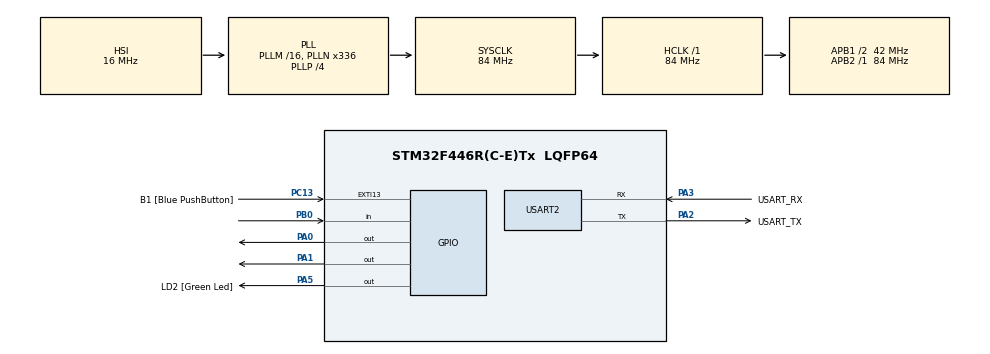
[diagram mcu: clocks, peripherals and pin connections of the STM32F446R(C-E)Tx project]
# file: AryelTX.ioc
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Mcu.Family=STM32F4
Mcu.Name=STM32F446R(C-E)Tx
Mcu.Package=LQFP64
NVIC.PriorityGroup=NVIC_PRIORITYGROUP_0
PA0-WKUP.Signal=GPIO_Output
PA1.Signal=GPIO_Output
PA13.GPIO_Label=TMS
PA13.Mode=Serial_Wire
PA13.Signal=SYS_JTMS-SWDIO
PA14.GPIO_Label=TCK
PA14.Mode=Serial_Wire
PA14.Signal=SYS_JTCK-SWCLK
PA2.GPIO_Label=USART_TX
PA2.Mode=Asynchronous
PA2.Signal=USART2_TX
PA3.GPIO_Label=USART_RX
PA3.Mode=Asynchronous
PA3.Signal=USART2_RX
PA5.GPIO_Label=LD2 [Green Led]
PA5.Signal=GPIO_Output
PB0.GPIO_PuPd=GPIO_PULLDOWN
PB0.Signal=GPIO_Input
PB3.GPIO_Label=SWO
PB3.Signal=SYS_JTDO-SWO
PC13.GPIO_Label=B1 [Blue PushButton]
PC13.GPIO_ModeDefaultEXTI=GPIO_MODE_IT_FALLING
PC13.Signal=GPXTI13
PC14-OSC32_IN.Mode=LSE-External-Oscillator
PC14-OSC32_IN.Signal=RCC_OSC32_IN
PC15-OSC32_OUT.Mode=LSE-External-Oscillator
PC15-OSC32_OUT.Signal=RCC_OSC32_OUT
PH0-OSC_IN.Mode=HSE-External-Oscillator
PH0-OSC_IN.Signal=RCC_OSC_IN
PH1-OSC_OUT.Mode=HSE-External-Oscillator
PH1-OSC_OUT.Signal=RCC_OSC_OUT
ProjectManager.HeapSize=0x200
ProjectManager.StackSize=0x400
ProjectManager.TargetToolchain=STM32CubeIDE
RCC.48MHZClocksFreq_Value=84000000
RCC.AHBFreq_Value=84000000
RCC.APB1CLKDivider=RCC_HCLK_DIV2
RCC.APB1Freq_Value=42000000
RCC.APB1TimFreq_Value=84000000
RCC.APB2Freq_Value=84000000
RCC.APB2TimFreq_Value=84000000
RCC.CortexFreq_Value=84000000
RCC.FLatency-AdvancedSettings=FLASH_LATENCY_2
RCC.HCLKFreq_Value=84000000
RCC.HSE_VALUE=8000000
RCC.HSI_VALUE=16000000
RCC.PLLN=336
RCC.PLLP=RCC_PLLP_DIV4
RCC.SYSCLKFreq_VALUE=84000000
RCC.SYSCLKSource=RCC_SYSCLKSOURCE_PLLCLK
RCC.USBFreq_Value=168000000
RCC.VCOOutputFreq_Value=336000000
USART2.VirtualMode=VM_ASYNC
board=NUCLEO-F446RE

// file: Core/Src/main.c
/* USER CODE BEGIN Header */
/**
  ******************************************************************************
  * @file           : main.c
  * @brief          : Main program body
  ******************************************************************************
  * @attention
  *
  * Copyright (c) 2026 STMicroelectronics.
  * All rights reserved.
  *
  * This software is licensed under terms that can be found in the LICENSE file
  * in the root directory of this software component.
  * If no LICENSE file comes with this software, it is provided AS-IS.
  *
  ******************************************************************************
  */
/* USER CODE END Header */
#include "main.h"

/* USER CODE BEGIN Includes */
/*TX*/
#include <stdint.h>
/* USER CODE END Includes */

UART_HandleTypeDef huart2;

void SystemClock_Config(void);
static void MX_GPIO_Init(void);
static void MX_USART2_UART_Init(void);

/* USER CODE BEGIN 0 */
uint8_t read_ack() {
    return HAL_GPIO_ReadPin(GPIOB, GPIO_PIN_0);
}

void pulse_clock() {
    HAL_GPIO_WritePin(GPIOA, GPIO_PIN_1, GPIO_PIN_SET);
    for(volatile int i=0; i<300; i++);
    HAL_GPIO_WritePin(GPIOA, GPIO_PIN_1, GPIO_PIN_RESET);
    for(volatile int i=0; i<300; i++);
}

uint8_t send_byte(uint8_t data) {
    uint8_t parity = 0;

    // START
    HAL_GPIO_WritePin(GPIOA, GPIO_PIN_0, GPIO_PIN_RESET);
    pulse_clock();

    // 8 bits
    for(int i = 0; i < 8; i++) {
        uint8_t bit = (data >> i) & 1;
        HAL_GPIO_WritePin(GPIOA, GPIO_PIN_0, bit);
        parity ^= bit;
        pulse_clock();
    }

    // PARIDADE
    HAL_GPIO_WritePin(GPIOA, GPIO_PIN_0, parity);
    pulse_clock();

    // STOP
    HAL_GPIO_WritePin(GPIOA, GPIO_PIN_0, GPIO_PIN_SET);
    pulse_clock();

    HAL_Delay(1);
    return read_ack();
}

void send_byte_reliable(uint8_t data) {
    uint8_t ack = 0;

    while(!ack) {
        ack = send_byte(data);
    }
}
/* USER CODE END 0 */

int main(void)
{

  /* MCU Configuration--------------------------------------------------------*/

  /* Reset of all peripherals, Initializes the Flash interface and the Systick. */
  HAL_Init();

  /* Configure the system clock */
  SystemClock_Config();

  /* Initialize all configured peripherals */
  MX_GPIO_Init();
  MX_USART2_UART_Init();

  /* Infinite loop */
  /* USER CODE BEGIN WHILE */
  while (1)
  {
	  // envia 100 bytes continuamente
	  for(int i = 0; i < 100; i++) {
	      send_byte_reliable(i);
	      HAL_Delay(10);
	  }

	  // botão
	  uint8_t current = (HAL_GPIO_ReadPin(GPIOC, GPIO_PIN_13) == GPIO_PIN_RESET);

	  if(current)
	      send_byte_reliable(1);
	  else
	      send_byte_reliable(0);

	  HAL_Delay(100);
    /* USER CODE END WHILE */

  }
}

void SystemClock_Config(void)
{
  RCC_OscInitTypeDef RCC_OscInitStruct = {0};
  RCC_ClkInitTypeDef RCC_ClkInitStruct = {0};

  /** Configure the main internal regulator output voltage
  */
  __HAL_RCC_PWR_CLK_ENABLE();
  __HAL_PWR_VOLTAGESCALING_CONFIG(PWR_REGULATOR_VOLTAGE_SCALE3);

  /** Initializes the RCC Oscillators according to the specified parameters
  * in the RCC_OscInitTypeDef structure.
  */
  RCC_OscInitStruct.OscillatorType = RCC_OSCILLATORTYPE_HSI;
  RCC_OscInitStruct.HSIState = RCC_HSI_ON;
  RCC_OscInitStruct.HSICalibrationValue = RCC_HSICALIBRATION_DEFAULT;
  RCC_OscInitStruct.PLL.PLLState = RCC_PLL_ON;
  RCC_OscInitStruct.PLL.PLLSource = RCC_PLLSOURCE_HSI;
  RCC_OscInitStruct.PLL.PLLM = 16;
  RCC_OscInitStruct.PLL.PLLN = 336;
  RCC_OscInitStruct.PLL.PLLP = RCC_PLLP_DIV4;
  RCC_OscInitStruct.PLL.PLLQ = 2;
  RCC_OscInitStruct.PLL.PLLR = 2;
  if (HAL_RCC_OscConfig(&RCC_OscInitStruct) != HAL_OK)
  {
    Error_Handler();
  }

  /** Initializes the CPU, AHB and APB buses clocks
  */
  RCC_ClkInitStruct.ClockType = RCC_CLOCKTYPE_HCLK|RCC_CLOCKTYPE_SYSCLK
                              |RCC_CLOCKTYPE_PCLK1|RCC_CLOCKTYPE_PCLK2;
  RCC_ClkInitStruct.SYSCLKSource = RCC_SYSCLKSOURCE_PLLCLK;
  RCC_ClkInitStruct.AHBCLKDivider = RCC_SYSCLK_DIV1;
  RCC_ClkInitStruct.APB1CLKDivider = RCC_HCLK_DIV2;
  RCC_ClkInitStruct.APB2CLKDivider = RCC_HCLK_DIV1;

  if (HAL_RCC_ClockConfig(&RCC_ClkInitStruct, FLASH_LATENCY_2) != HAL_OK)
  {
    Error_Handler();
  }
}

static void MX_USART2_UART_Init(void)
{

  huart2.Instance = USART2;
  huart2.Init.BaudRate = 115200;
  huart2.Init.WordLength = UART_WORDLENGTH_8B;
  huart2.Init.StopBits = UART_STOPBITS_1;
  huart2.Init.Parity = UART_PARITY_NONE;
  huart2.Init.Mode = UART_MODE_TX_RX;
  huart2.Init.HwFlowCtl = UART_HWCONTROL_NONE;
  huart2.Init.OverSampling = UART_OVERSAMPLING_16;
  if (HAL_UART_Init(&huart2) != HAL_OK)
  {
    Error_Handler();
  }

}

static void MX_GPIO_Init(void)
{
  GPIO_InitTypeDef GPIO_InitStruct = {0};

  /* GPIO Ports Clock Enable */
  __HAL_RCC_GPIOC_CLK_ENABLE();
  __HAL_RCC_GPIOH_CLK_ENABLE();
  __HAL_RCC_GPIOA_CLK_ENABLE();
  __HAL_RCC_GPIOB_CLK_ENABLE();

  /*Configure GPIO pin Output Level */
  HAL_GPIO_WritePin(GPIOA, GPIO_PIN_0|GPIO_PIN_1|LD2_Pin, GPIO_PIN_RESET);

  /*Configure GPIO pin : B1_Pin */
  GPIO_InitStruct.Pin = B1_Pin;
  GPIO_InitStruct.Mode = GPIO_MODE_IT_FALLING;
  GPIO_InitStruct.Pull = GPIO_NOPULL;
  HAL_GPIO_Init(B1_GPIO_Port, &GPIO_InitStruct);

  /*Configure GPIO pins : PA0 PA1 LD2_Pin */
  GPIO_InitStruct.Pin = GPIO_PIN_0|GPIO_PIN_1|LD2_Pin;
  GPIO_InitStruct.Mode = GPIO_MODE_OUTPUT_PP;
  GPIO_InitStruct.Pull = GPIO_NOPULL;
  GPIO_InitStruct.Speed = GPIO_SPEED_FREQ_LOW;
  HAL_GPIO_Init(GPIOA, &GPIO_InitStruct);

  /*Configure GPIO pin : PB0 */
  GPIO_InitStruct.Pin = GPIO_PIN_0;
  GPIO_InitStruct.Mode = GPIO_MODE_INPUT;
  GPIO_InitStruct.Pull = GPIO_PULLDOWN;
  HAL_GPIO_Init(GPIOB, &GPIO_InitStruct);

}

void Error_Handler(void)
{
  __disable_irq();
  while (1)
  {
  }
}
